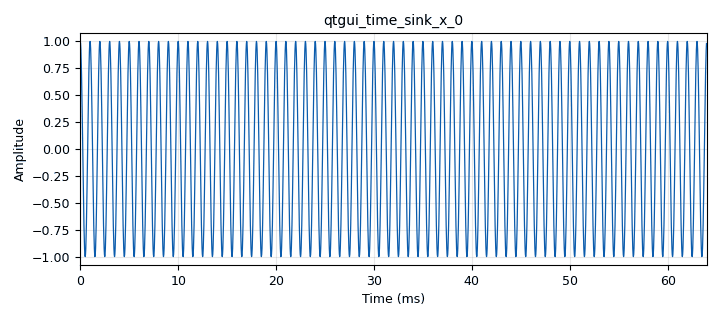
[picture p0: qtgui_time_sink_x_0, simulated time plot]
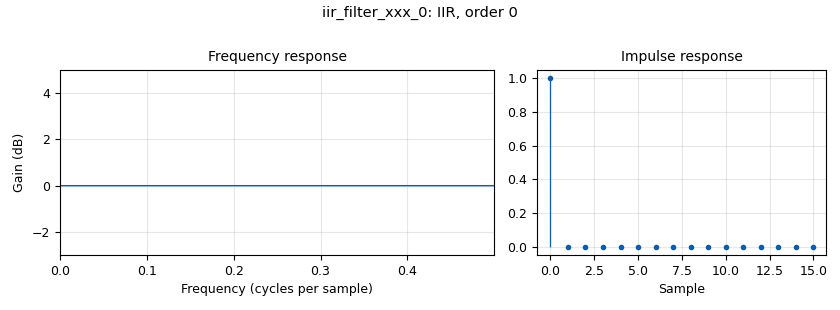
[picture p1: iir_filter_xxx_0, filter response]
options:
  parameters:
    author: vivelpanel
    generate_options: qt_gui
    id: see_iir
    output_language: python
    title: See IIR in Action
  states: {}

blocks:
- name: samp_rate
  id: variable
  parameters:
    value: '32000'
  states: {}
- name: analog_sig_source_x_0
  id: analog_sig_source_x
  parameters:
    amp: '1'
    freq: '1000'
    offset: '0'
    phase: '0'
    samp_rate: samp_rate
    type: float
    waveform: analog.GR_COS_WAVE
  states: {}
- name: analog_sig_source_x_1
  id: analog_sig_source_x
  parameters:
    amp: '1'
    freq: '1000'
    offset: '0'
    phase: '0'
    samp_rate: samp_rate
    type: float
    waveform: analog.GR_COS_WAVE
  states: {state: disabled}
- name: audio_sink_0
  id: audio_sink
  parameters:
    samp_rate: samp_rate
  states: {state: disabled}
- name: blocks_add_xx_0
  id: blocks_add_xx
  parameters:
    type: float
  states: {state: disabled}
- name: blocks_add_xx_1
  id: blocks_add_xx
  parameters:
    type: float
  states: {state: disabled}
- name: blocks_delay_0
  id: blocks_delay
  parameters:
    delay: '1'
    type: float
  states: {state: disabled}
- name: blocks_multiply_const_vxx_1
  id: blocks_multiply_const_vxx
  parameters:
    const: '.1'
    type: float
  states: {state: disabled}
- name: blocks_throttle_0
  id: blocks_throttle
  parameters:
    samples_per_second: samp_rate
    type: float
  states: {}
- name: blocks_throttle_1
  id: blocks_throttle
  parameters:
    samples_per_second: samp_rate
    type: float
  states: {state: disabled}
- name: iir_filter_xxx_0
  id: iir_filter_xxx
  parameters:
    fbtaps: '100'
    fftaps: '1'
    oldstyle: 'False'
    type: ffd
  states: {}
- name: note_0
  id: note
  parameters:
    comment: I'm still very confused about this...
    note: Huh?
  states: {}
- name: qtgui_sink_x_0
  id: qtgui_sink_x
  parameters:
    bw: samp_rate
    fc: '0'
    fftsize: '1024'
    type: float
  states: {state: disabled}
- name: qtgui_time_sink_x_0
  id: qtgui_time_sink_x
  parameters:
    size: '2048'
    srate: samp_rate
    type: float
  states: {}

connections:
- [analog_sig_source_x_0, '0', iir_filter_xxx_0, '0']
- [analog_sig_source_x_1, '0', blocks_delay_0, '0']
- [analog_sig_source_x_1, '0', blocks_multiply_const_vxx_1, '0']
- [blocks_add_xx_0, '0', blocks_add_xx_1, '0']
- [blocks_add_xx_0, '0', blocks_throttle_1, '0']
- [blocks_add_xx_1, '0', blocks_add_xx_0, '1']
- [blocks_delay_0, '0', blocks_add_xx_1, '1']
- [blocks_multiply_const_vxx_1, '0', blocks_add_xx_0, '0']
- [blocks_throttle_0, '0', qtgui_time_sink_x_0, '0']
- [blocks_throttle_1, '0', audio_sink_0, '0']
- [blocks_throttle_1, '0', qtgui_sink_x_0, '0']
- [iir_filter_xxx_0, '0', blocks_throttle_0, '0']

metadata:
  file_format: 1
